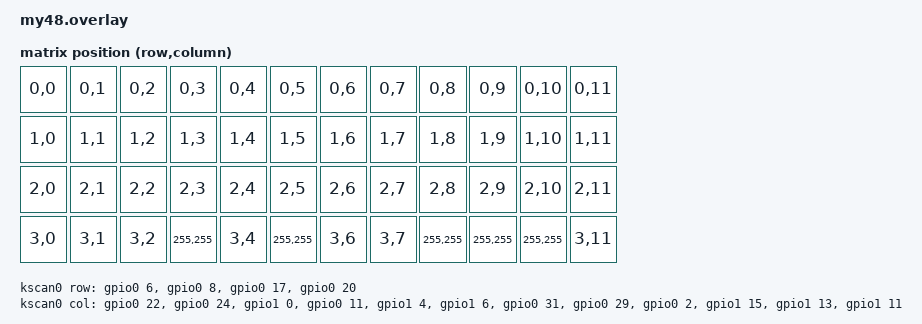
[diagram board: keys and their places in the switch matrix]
#include <dt-bindings/zmk/matrix_transform.h>
#include <dt-bindings/gpio/gpio.h>


/ {
    kscan0: kscan {
        compatible = "zmk,kscan-gpio-matrix";
        wakeup-source;
        diode-direction = "col2row";

        col-gpios =
            <&gpio0 22 GPIO_ACTIVE_HIGH>,
            <&gpio0 24 GPIO_ACTIVE_HIGH>,
            <&gpio1 0 GPIO_ACTIVE_HIGH>,
            <&gpio0 11 GPIO_ACTIVE_HIGH>,
            <&gpio1 4 GPIO_ACTIVE_HIGH>,
            <&gpio1 6 GPIO_ACTIVE_HIGH>,
            <&gpio0 31 GPIO_ACTIVE_HIGH>,
            <&gpio0 29 GPIO_ACTIVE_HIGH>,
            <&gpio0 2 GPIO_ACTIVE_HIGH>,
            <&gpio1 15 GPIO_ACTIVE_HIGH>,
            <&gpio1 13 GPIO_ACTIVE_HIGH>,
            <&gpio1 11 GPIO_ACTIVE_HIGH>;

        row-gpios =
            <&gpio0 6 (GPIO_ACTIVE_HIGH | GPIO_PULL_DOWN)>,
            <&gpio0 8 (GPIO_ACTIVE_HIGH | GPIO_PULL_DOWN)>,
            <&gpio0 17 (GPIO_ACTIVE_HIGH | GPIO_PULL_DOWN)>,
            <&gpio0 20 (GPIO_ACTIVE_HIGH | GPIO_PULL_DOWN)>;

        debounce-press-ms = <5>;
        debounce-release-ms = <5>;
    };

    default_transform: matrix_transform {
        compatible = "zmk,matrix-transform";
        rows = <4>;
        columns = <12>;
        map = <
            RC(0,0) RC(0,1) RC(0,2) RC(0,3) RC(0,4) RC(0,5) RC(0,6) RC(0,7) RC(0,8) RC(0,9) RC(0,10) RC(0,11)
            RC(1,0) RC(1,1) RC(1,2) RC(1,3) RC(1,4) RC(1,5) RC(1,6) RC(1,7) RC(1,8) RC(1,9) RC(1,10) RC(1,11)
            RC(2,0) RC(2,1) RC(2,2) RC(2,3) RC(2,4) RC(2,5) RC(2,6) RC(2,7) RC(2,8) RC(2,9) RC(2,10) RC(2,11)
            RC(3,0) RC(3,1) RC(3,2) RC(255,255) RC(3,4) RC(255,255) RC(3,6) RC(3,7) RC(255,255) RC(255,255) RC(255,255) RC(3,11)
        >;
    };

    key_xy_0: key_xy_0 { compatible = "zmk,key-position"; #key-cells = <0>; x = <0>; y = <0>; };
    key_xy_1: key_xy_1 { compatible = "zmk,key-position"; #key-cells = <0>; x = <19>; y = <0>; };
    key_xy_2: key_xy_2 { compatible = "zmk,key-position"; #key-cells = <0>; x = <38>; y = <0>; };
    key_xy_3: key_xy_3 { compatible = "zmk,key-position"; #key-cells = <0>; x = <57>; y = <0>; };
    key_xy_4: key_xy_4 { compatible = "zmk,key-position"; #key-cells = <0>; x = <76>; y = <0>; };
    key_xy_5: key_xy_5 { compatible = "zmk,key-position"; #key-cells = <0>; x = <95>; y = <0>; };
    key_xy_6: key_xy_6 { compatible = "zmk,key-position"; #key-cells = <0>; x = <114>; y = <0>; };
    key_xy_7: key_xy_7 { compatible = "zmk,key-position"; #key-cells = <0>; x = <133>; y = <0>; };
    key_xy_8: key_xy_8 { compatible = "zmk,key-position"; #key-cells = <0>; x = <152>; y = <0>; };
    key_xy_9: key_xy_9 { compatible = "zmk,key-position"; #key-cells = <0>; x = <171>; y = <0>; };
    key_xy_10: key_xy_10 { compatible = "zmk,key-position"; #key-cells = <0>; x = <190>; y = <0>; };
    key_xy_11: key_xy_11 { compatible = "zmk,key-position"; #key-cells = <0>; x = <209>; y = <0>; };
    key_xy_12: key_xy_12 { compatible = "zmk,key-position"; #key-cells = <0>; x = <0>; y = <19>; };
    key_xy_13: key_xy_13 { compatible = "zmk,key-position"; #key-cells = <0>; x = <19>; y = <19>; };
    key_xy_14: key_xy_14 { compatible = "zmk,key-position"; #key-cells = <0>; x = <38>; y = <19>; };
    key_xy_15: key_xy_15 { compatible = "zmk,key-position"; #key-cells = <0>; x = <57>; y = <19>; };
    key_xy_16: key_xy_16 { compatible = "zmk,key-position"; #key-cells = <0>; x = <76>; y = <19>; };
    key_xy_17: key_xy_17 { compatible = "zmk,key-position"; #key-cells = <0>; x = <95>; y = <19>; };
    key_xy_18: key_xy_18 { compatible = "zmk,key-position"; #key-cells = <0>; x = <114>; y = <19>; };
    key_xy_19: key_xy_19 { compatible = "zmk,key-position"; #key-cells = <0>; x = <133>; y = <19>; };
    key_xy_20: key_xy_20 { compatible = "zmk,key-position"; #key-cells = <0>; x = <152>; y = <19>; };
    key_xy_21: key_xy_21 { compatible = "zmk,key-position"; #key-cells = <0>; x = <171>; y = <19>; };
    key_xy_22: key_xy_22 { compatible = "zmk,key-position"; #key-cells = <0>; x = <190>; y = <19>; };
    key_xy_23: key_xy_23 { compatible = "zmk,key-position"; #key-cells = <0>; x = <209>; y = <19>; };
    key_xy_24: key_xy_24 { compatible = "zmk,key-position"; #key-cells = <0>; x = <0>; y = <38>; };
    key_xy_25: key_xy_25 { compatible = "zmk,key-position"; #key-cells = <0>; x = <19>; y = <38>; };
    key_xy_26: key_xy_26 { compatible = "zmk,key-position"; #key-cells = <0>; x = <38>; y = <38>; };
    key_xy_27: key_xy_27 { compatible = "zmk,key-position"; #key-cells = <0>; x = <57>; y = <38>; };
    key_xy_28: key_xy_28 { compatible = "zmk,key-position"; #key-cells = <0>; x = <76>; y = <38>; };
    key_xy_29: key_xy_29 { compatible = "zmk,key-position"; #key-cells = <0>; x = <95>; y = <38>; };
    key_xy_30: key_xy_30 { compatible = "zmk,key-position"; #key-cells = <0>; x = <114>; y = <38>; };
    key_xy_31: key_xy_31 { compatible = "zmk,key-position"; #key-cells = <0>; x = <133>; y = <38>; };
    key_xy_32: key_xy_32 { compatible = "zmk,key-position"; #key-cells = <0>; x = <152>; y = <38>; };
    key_xy_33: key_xy_33 { compatible = "zmk,key-position"; #key-cells = <0>; x = <171>; y = <38>; };
    key_xy_34: key_xy_34 { compatible = "zmk,key-position"; #key-cells = <0>; x = <190>; y = <38>; };
    key_xy_35: key_xy_35 { compatible = "zmk,key-position"; #key-cells = <0>; x = <209>; y = <38>; };
    key_xy_36: key_xy_36 { compatible = "zmk,key-position"; #key-cells = <0>; x = <0>; y = <57>; };
    key_xy_37: key_xy_37 { compatible = "zmk,key-position"; #key-cells = <0>; x = <19>; y = <57>; };
    key_xy_38: key_xy_38 { compatible = "zmk,key-position"; #key-cells = <0>; x = <38>; y = <57>; };
    key_xy_39: key_xy_39 { compatible = "zmk,key-position"; #key-cells = <0>; x = <57>; y = <57>; };
    key_xy_40: key_xy_40 { compatible = "zmk,key-position"; #key-cells = <0>; x = <76>; y = <57>; };
    key_xy_41: key_xy_41 { compatible = "zmk,key-position"; #key-cells = <0>; x = <95>; y = <57>; };
    key_xy_42: key_xy_42 { compatible = "zmk,key-position"; #key-cells = <0>; x = <114>; y = <57>; };
    key_xy_43: key_xy_43 { compatible = "zmk,key-position"; #key-cells = <0>; x = <133>; y = <57>; };
    key_xy_44: key_xy_44 { compatible = "zmk,key-position"; #key-cells = <0>; x = <152>; y = <57>; };
    key_xy_45: key_xy_45 { compatible = "zmk,key-position"; #key-cells = <0>; x = <171>; y = <57>; };
    key_xy_46: key_xy_46 { compatible = "zmk,key-position"; #key-cells = <0>; x = <190>; y = <57>; };
    key_xy_47: key_xy_47 { compatible = "zmk,key-position"; #key-cells = <0>; x = <209>; y = <57>; };

    physical_layout: physical_layout {
        compatible = "zmk,physical-layout";
        display-name = "My48 Keyboard";
        transform = <&default_transform>;
        kscan = <&kscan0>;
        keys = <
            &key_xy_0 &key_xy_1 &key_xy_2 &key_xy_3 &key_xy_4 &key_xy_5 &key_xy_6 &key_xy_7 &key_xy_8 &key_xy_9 &key_xy_10 &key_xy_11
            &key_xy_12 &key_xy_13 &key_xy_14 &key_xy_15 &key_xy_16 &key_xy_17 &key_xy_18 &key_xy_19 &key_xy_20 &key_xy_21 &key_xy_22 &key_xy_23
            &key_xy_24 &key_xy_25 &key_xy_26 &key_xy_27 &key_xy_28 &key_xy_29 &key_xy_30 &key_xy_31 &key_xy_32 &key_xy_33 &key_xy_34 &key_xy_35
            &key_xy_36 &key_xy_37 &key_xy_38 &key_xy_39 &key_xy_40 &key_xy_41 &key_xy_42 &key_xy_43 &key_xy_44 &key_xy_45 &key_xy_46 &key_xy_47
        >;
    };

    leds {
        compatible = "gpio-leds";
        caps_lock_led: led_0 {
            gpios = <&gpio0 10 GPIO_ACTIVE_LOW>;
        };
        bt_led: led_1 {
            gpios = <&gpio0 9 GPIO_ACTIVE_LOW>;
        };
    };

    chosen {
        zmk,physical-layout = &physical_layout;
    };
};
